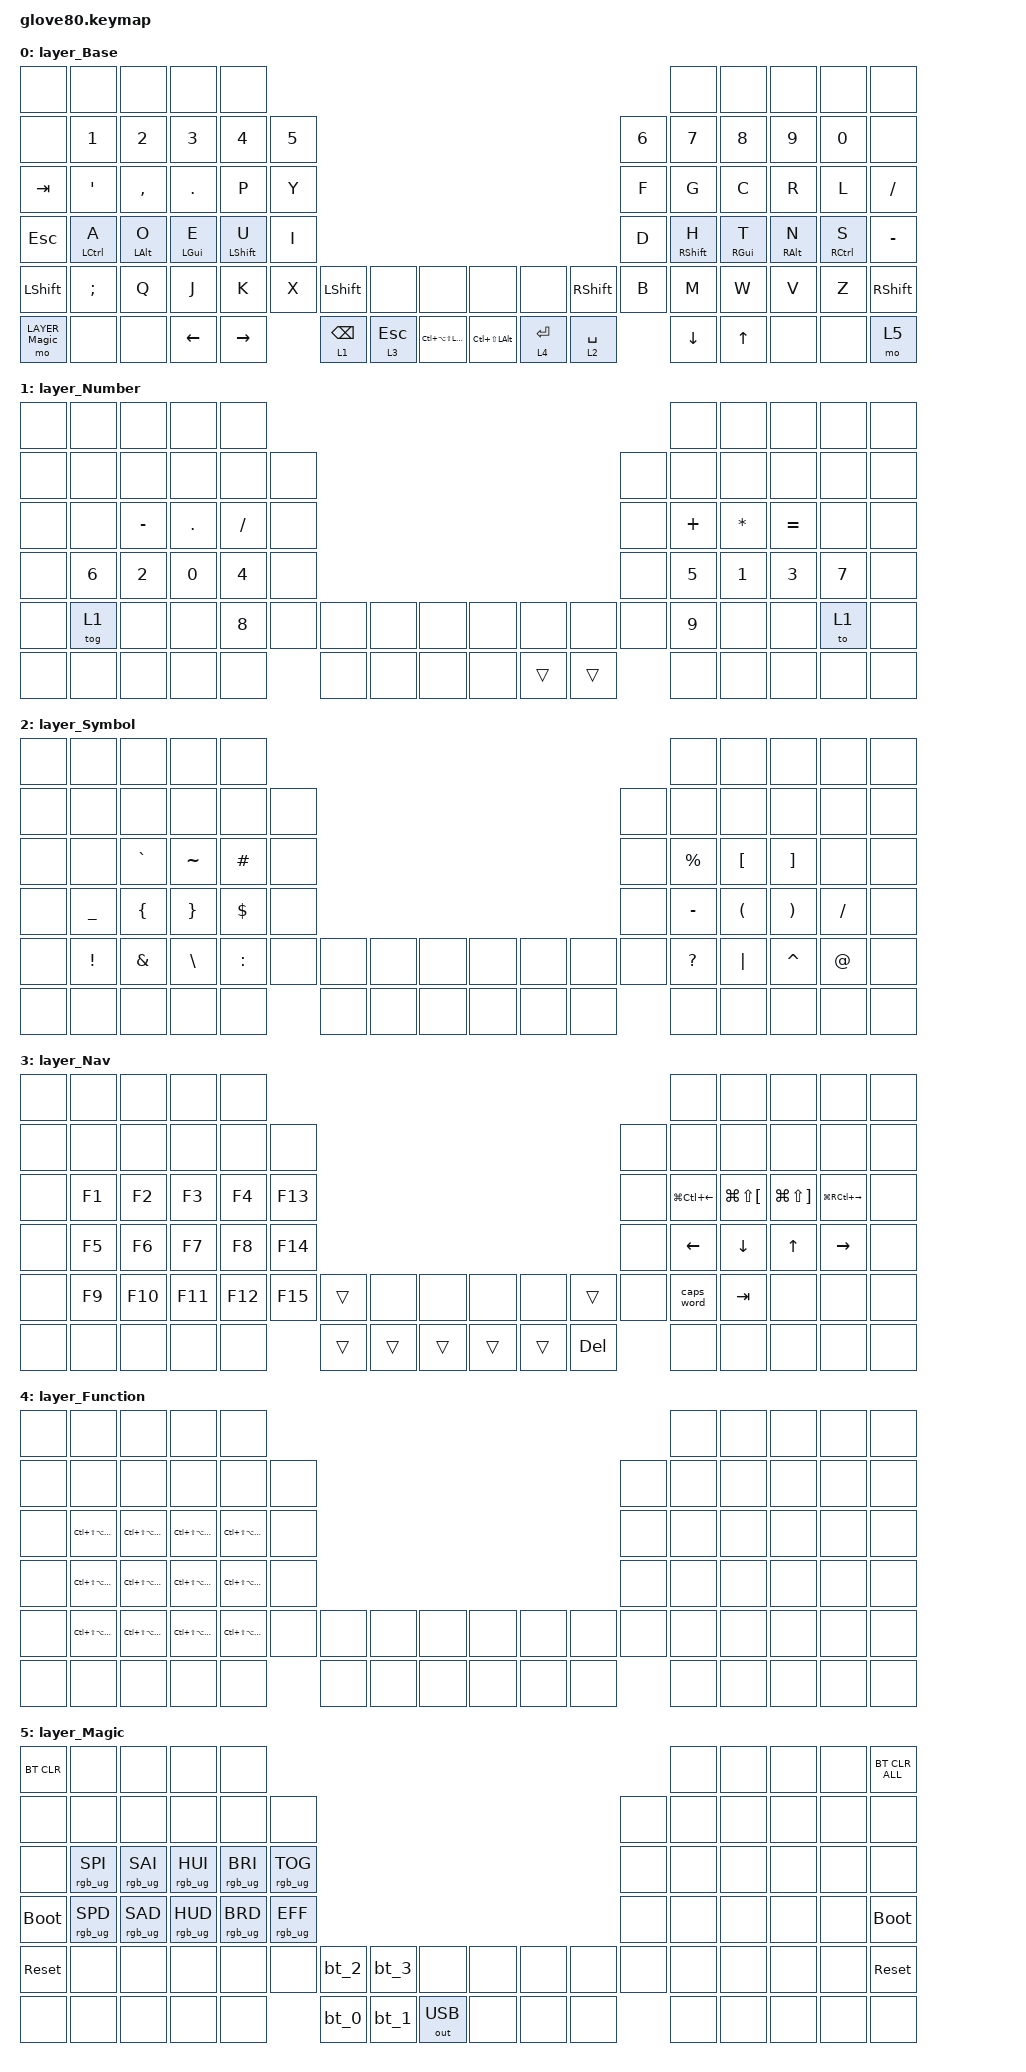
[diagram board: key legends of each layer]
#include <behaviors.dtsi>
#include <dt-bindings/zmk/bt.h>
#include <dt-bindings/zmk/keys.h>
#include <dt-bindings/zmk/outputs.h>
#include <dt-bindings/zmk/rgb.h>

/* Automatically generated layer name #define */

#define LAYER_Base 0
#define LAYER_Number 1
#define LAYER_Symbol 2
#define LAYER_Nav 3
#define LAYER_Function 4
#define LAYER_Magic 5

/ {
    macros {
        bt_0: bt_profile_macro_0 {
            compatible = "zmk,behavior-macro";
            #binding-cells = <0>;
            bindings = <&out OUT_BLE &bt BT_SEL 0>;
        };

        bt_1: bt_profile_macro_1 {
            compatible = "zmk,behavior-macro";
            #binding-cells = <0>;
            bindings = <&out OUT_BLE &bt BT_SEL 1>;
        };

        bt_2: bt_profile_macro_2 {
            compatible = "zmk,behavior-macro";
            #binding-cells = <0>;
            bindings = <&out OUT_BLE &bt BT_SEL 2>;
        };

        bt_3: bt_profile_macro_3 {
            compatible = "zmk,behavior-macro";
            #binding-cells = <0>;
            bindings = <&out OUT_BLE &bt BT_SEL 3>;
        };
    };

    behaviors {
        hrml: homerow_mod_left {
            compatible = "zmk,behavior-hold-tap";
            #binding-cells = <2>;
            flavor = "balanced";
            tapping-term-ms = <200>;
            quick-tap-ms = <100>;
            bindings = <&kp>, <&kp>;

            require-prior-idle-ms = <100>;
            hold-trigger-key-positions = <5 6 7 8 9 16 17 18 19 20 21 28 29 30 31 32 33 40 41 42 43 44 45 56 57 58 59 60 61 62 63 72 73 74 75 76 77 78 79 55>;
            hold-trigger-on-release;
        };

        hrmr: homerow_mod_right {
            compatible = "zmk,behavior-hold-tap";
            #binding-cells = <2>;
            flavor = "balanced";
            tapping-term-ms = <200>;
            quick-tap-ms = <100>;
            bindings = <&kp>, <&kp>;

            require-prior-idle-ms = <100>;
            hold-trigger-key-positions = <0 1 2 3 4 10 11 12 13 14 15 22 23 24 25 26 27 34 35 36 37 38 39 46 47 48 49 50 51 52 53 54 64 65 66 67 68 69 70 71>;
            hold-trigger-on-release;
        };
    };

    keymap {
        compatible = "zmk,keymap";

        layer_Base {
            bindings = <
&none            &none          &none         &none         &none                                                                                                                    &none           &none         &none         &none          &none
&none            &kp N1         &kp N2        &kp N3        &kp N4          &kp N5                                                                                           &kp N6  &kp N7          &kp N8        &kp N9        &kp N0         &none
&kp TAB          &kp SQT        &kp COMMA     &kp DOT       &kp P           &kp Y                                                                                            &kp F   &kp G           &kp C         &kp R         &kp L          &kp SLASH
&kp ESC          &hrml LCTRL A  &hrml LALT O  &hrml LGUI E  &hrml LSHIFT U  &kp I                                                                                            &kp D   &hrmr RSHIFT H  &hrmr RGUI T  &hrmr RALT N  &hrmr RCTRL S  &kp MINUS
&kp LSHFT        &kp SEMI       &kp Q         &kp J         &kp K           &kp X   &kp LSHFT   &none      &none                   &none             &none      &kp RSHFT    &kp B   &kp M           &kp W         &kp V         &kp Z          &kp RSHFT
&mo LAYER_Magic  &none          &none         &kp LEFT      &kp RIGHT               &lt 1 BSPC  &lt 3 ESC  &kp LC(LA(LS(LGUI)))    &kp LC(LS(LALT))  &lt 4 RET  &lt 2 SPACE          &kp DOWN        &kp UP        &none         &none          &mo 5
            >;
        };

        layer_Number {
            bindings = <
&none  &none   &none      &none    &none                                                                 &none     &none     &none      &none   &none
&none  &none   &none      &none    &none     &none                                                &none  &none     &none     &none      &none   &none
&none  &none   &kp MINUS  &kp DOT  &kp FSLH  &none                                                &none  &kp PLUS  &kp STAR  &kp EQUAL  &none   &none
&none  &kp N6  &kp N2     &kp N0   &kp N4    &none                                                &none  &kp N5    &kp N1    &kp N3     &kp N7  &none
&none  &tog 1  &none      &none    &kp N8    &none  &none  &none  &none    &none  &none   &none   &none  &kp N9    &none     &none      &to 1   &none
&none  &none   &none      &none    &none            &none  &none  &none    &none  &trans  &trans         &none     &none     &none      &none   &none
            >;
        };

        layer_Symbol {
            bindings = <
&none  &none      &none      &none      &none                                                                &none      &none     &none      &none     &none
&none  &none      &none      &none      &none      &none                                              &none  &none      &none     &none      &none     &none
&none  &none      &kp GRAVE  &kp TILDE  &kp HASH   &none                                              &none  &kp PRCNT  &kp LBKT  &kp RBKT   &none     &none
&none  &kp UNDER  &kp LBRC   &kp RBRC   &kp DLLR   &none                                              &none  &kp MINUS  &kp LPAR  &kp RPAR   &kp FSLH  &none
&none  &kp EXCL   &kp AMPS   &kp BSLH   &kp COLON  &none  &none  &none  &none    &none  &none  &none  &none  &kp QMARK  &kp PIPE  &kp CARET  &kp AT    &none
&none  &none      &none      &none      &none             &none  &none  &none    &none  &none  &none         &none      &none     &none      &none     &none
            >;
        };

        layer_Nav {
            bindings = <
&none  &none   &none    &none    &none                                                                       &none             &none             &none             &none              &none
&none  &none   &none    &none    &none    &none                                                       &none  &none             &none             &none             &none              &none
&none  &kp F1  &kp F2   &kp F3   &kp F4   &kp F13                                                     &none  &kp LG(LC(LEFT))  &kp LG(LS(LBKT))  &kp LG(LS(RBKT))  &kp LG(RC(RIGHT))  &none
&none  &kp F5  &kp F6   &kp F7   &kp F8   &kp F14                                                     &none  &kp LEFT          &kp DOWN          &kp UP            &kp RIGHT          &none
&none  &kp F9  &kp F10  &kp F11  &kp F12  &kp F15  &trans  &none   &none     &none   &none   &trans   &none  &caps_word        &kp TAB           &none             &none              &none
&none  &none   &none    &none    &none             &trans  &trans  &trans    &trans  &trans  &kp DEL         &none             &none             &none             &none              &none
            >;
        };

        layer_Function {
            bindings = <
&none  &none                   &none                    &none                    &none                                                                              &none  &none  &none  &none  &none
&none  &none                   &none                    &none                    &none                    &none                                              &none  &none  &none  &none  &none  &none
&none  &kp LC(LS(LA(LG(F1))))  &kp LC(LS(LA(LG(F2))))   &kp LC(LS(LA(LG(F3))))   &kp LC(LS(LA(LG(F4))))   &none                                              &none  &none  &none  &none  &none  &none
&none  &kp LC(LS(LA(LG(F5))))  &kp LC(LS(LA(LG(F6))))   &kp LC(LS(LA(LG(F7))))   &kp LC(LS(LA(LG(F8))))   &none                                              &none  &none  &none  &none  &none  &none
&none  &kp LC(LS(LA(LG(F9))))  &kp LC(LS(LA(LG(F10))))  &kp LC(LS(LA(LG(F11))))  &kp LC(LS(LA(LG(F12))))  &none  &none  &none  &none    &none  &none  &none  &none  &none  &none  &none  &none  &none
&none  &none                   &none                    &none                    &none                           &none  &none  &none    &none  &none  &none         &none  &none  &none  &none  &none
            >;
        };

        layer_Magic {
            bindings = <
&bt BT_CLR   &none            &none            &none            &none                                                                                       &none  &none  &none  &none  &bt BT_CLR_ALL
&none        &none            &none            &none            &none            &none                                                               &none  &none  &none  &none  &none  &none
&none        &rgb_ug RGB_SPI  &rgb_ug RGB_SAI  &rgb_ug RGB_HUI  &rgb_ug RGB_BRI  &rgb_ug RGB_TOG                                                     &none  &none  &none  &none  &none  &none
&bootloader  &rgb_ug RGB_SPD  &rgb_ug RGB_SAD  &rgb_ug RGB_HUD  &rgb_ug RGB_BRD  &rgb_ug RGB_EFF                                                     &none  &none  &none  &none  &none  &bootloader
&sys_reset   &none            &none            &none            &none            &none            &bt_2  &bt_3  &none           &none  &none  &none  &none  &none  &none  &none  &none  &sys_reset
&none        &none            &none            &none            &none                             &bt_0  &bt_1  &out OUT_USB    &none  &none  &none         &none  &none  &none  &none  &none
            >;
        };
    };
};
